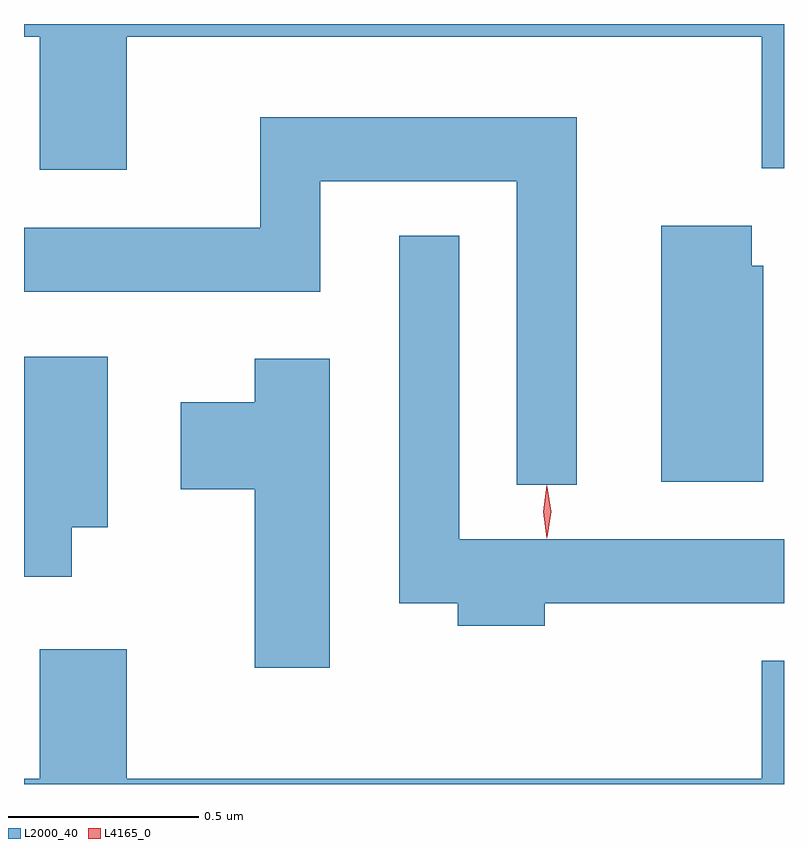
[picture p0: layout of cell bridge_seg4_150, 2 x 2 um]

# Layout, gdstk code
import gdstk
lib = gdstk.Library(unit=1e-6, precision=1e-09)
def P(c, l, *ps):  # polygons
    for p in ps: c.add(gdstk.Polygon(p, *l))
L2000_40 = (2000, 40)
L4165_0 = (4165, 0)

bridge_seg4_150 = lib.new_cell('bridge_seg4_150')
P(bridge_seg4_150, L2000_40, [(791.419,1305.836),(793.091,1305.836),(793.091,1305.491),(793.149,1305.491),(793.149,1305.87),(791.149,1305.87),(791.149,1305.836),(791.191,1305.836),(791.191,1305.486),(791.419,1305.486)],
  [(792.604,1305.624),(791.771,1305.624),(791.771,1305.334),(791.149,1305.334),(791.149,1305.166),(791.929,1305.166),(791.929,1305.456),(792.446,1305.456),(792.446,1304.658),(792.604,1304.658)],
  [(793.094,1305.234),(793.064,1305.234),(793.064,1305.339),(792.826,1305.339),(792.826,1304.666),(793.094,1304.666)],
  [(792.519,1304.346),(793.149,1304.346),(793.149,1304.514),(792.294,1304.514),(792.294,1305.313),(792.136,1305.313),(792.136,1304.346),(792.291,1304.346),(792.291,1304.286),(792.519,1304.286)],
  [(791.274,1304.546),(791.369,1304.546),(791.369,1304.994),(791.149,1304.994),(791.149,1304.416),(791.274,1304.416)],
  [(791.954,1304.989),(791.756,1304.989),(791.756,1304.874),(791.561,1304.874),(791.561,1304.646),(791.756,1304.646),(791.756,1304.176),(791.954,1304.176)],
  [(793.149,1304.194),(793.091,1304.194),(793.091,1303.884),(791.419,1303.884),(791.419,1304.224),(791.191,1304.224),(791.191,1303.884),(791.149,1303.884),(791.149,1303.87),(793.149,1303.87)])
P(bridge_seg4_150, L4165_0, [(792.526,1304.519),(792.525,1304.52),(792.516,1304.586),(792.525,1304.652),(792.526,1304.653),(792.526,1304.652),(792.536,1304.586),(792.526,1304.52)],
  [(792.524,1304.517),(792.515,1304.587),(792.524,1304.656),(792.525,1304.656),(792.525,1304.656),(792.535,1304.587),(792.525,1304.517),(792.525,1304.517)])

lib.write_gds('bridge_seg4_150.gds')
